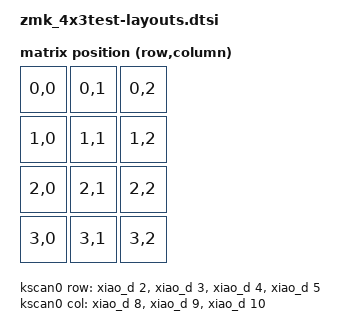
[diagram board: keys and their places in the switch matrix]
/ {
    // chosen {
    //     zmk,kscan = &kscan0;
    //     zmk,physical-layout = &physical_layout0;
    //     // Other chosen items
    // };
    kscan0: kscan0 {
        compatible = "zmk,kscan-gpio-matrix";
        diode-direction = "col2row";
        wakeup-source;
        
        col-gpios
            = <&xiao_d 8 (GPIO_ACTIVE_HIGH) >// | GPIO_PULL_UP)>
            , <&xiao_d 9 (GPIO_ACTIVE_HIGH) >// | GPIO_PULL_UP)>
            , <&xiao_d 10 (GPIO_ACTIVE_HIGH) >// | GPIO_PULL_UP)> //todo: make it 74595
            ;

        row-gpios
            = <&xiao_d 2 (GPIO_ACTIVE_HIGH | GPIO_PULL_DOWN)>
            , <&xiao_d 3 (GPIO_ACTIVE_HIGH | GPIO_PULL_DOWN)>
            , <&xiao_d 4 (GPIO_ACTIVE_HIGH | GPIO_PULL_DOWN)>
            , <&xiao_d 5 (GPIO_ACTIVE_HIGH | GPIO_PULL_DOWN)>
            ;
    };

    default_transform: keymap_transform0 { 
        compatible = "zmk,matrix-transform";
        columns = <3>; // Length of the "col-gpios" array
        rows = <4>; // Length of the "row-gpios" array
        map = <
        //   Key 1 | Key 2 | Key 3
            RC(0,0) RC(0,1) RC(0,2)
        //   Key 4 | Key 5 | Key 6
            RC(1,0) RC(1,1) RC(1,2)
        //   Key 7 | Key 8 | Key 9
            RC(2,0) RC(2,1) RC(2,2)
            RC(3,0) RC(3,1) RC(3,2)
        >;
    };

    physical_layout0: physical_layout0 { // https://zmk.dev/docs/development/hardware-integration/physical-layouts#multiple-physical-layouts/
        compatible = "zmk,physical-layout";
        display-name = "Default Layout";
        transform = <&default_transform>;
        kscan = <&kscan0>;
        keys  //                     w   h    x    y     rot    rx    ry
            = <&key_physical_attrs 100 100    0    0       0     0     0>
            , <&key_physical_attrs 100 100  100    0       0     0     0>
            , <&key_physical_attrs 100 100  200    0       0     0     0>
            , <&key_physical_attrs 100 100    0  100       0     0     0>
            , <&key_physical_attrs 100 100  100  100       0     0     0>
            , <&key_physical_attrs 100 100  200  100       0     0     0>
            , <&key_physical_attrs 100 100    0  200       0     0     0>
            , <&key_physical_attrs 100 100  100  200       0     0     0>
            , <&key_physical_attrs 100 100  200  200       0     0     0>
            , <&key_physical_attrs 100 100    0  300       0     0     0>
            , <&key_physical_attrs 100 100  100  300       0     0     0>
            , <&key_physical_attrs 100 100  200  300       0     0     0>
            ;
            // https://zmk.dev/docs/development/hardware-integration/physical-layouts#physical-layout-with-keys-example
            // https://zmk.dev/docs/features/studio#adding-zmk-studio-support-to-a-keyboard
        };

        // &physical_layout0 {
        //     kscan = <&kscan0>; 
        //     transform = <&default_transform>;
        // };

    position_map { // https://zmk.dev/docs/development/hardware-integration/physical-layouts#writing-a-position-map
        compatible = "zmk,physical-layout-position-map";
        complete; // Optional, see 'Example non-complete position map'
        layout1: layout1 {
            physical-layout = <&physical_layout0>;
            positions = < 0  1  2 >,
                        < 3  4  5 >,
                        < 6  7  8 >,
                        < 9 10 11 >; // List of positions to map
        };
    };
};
